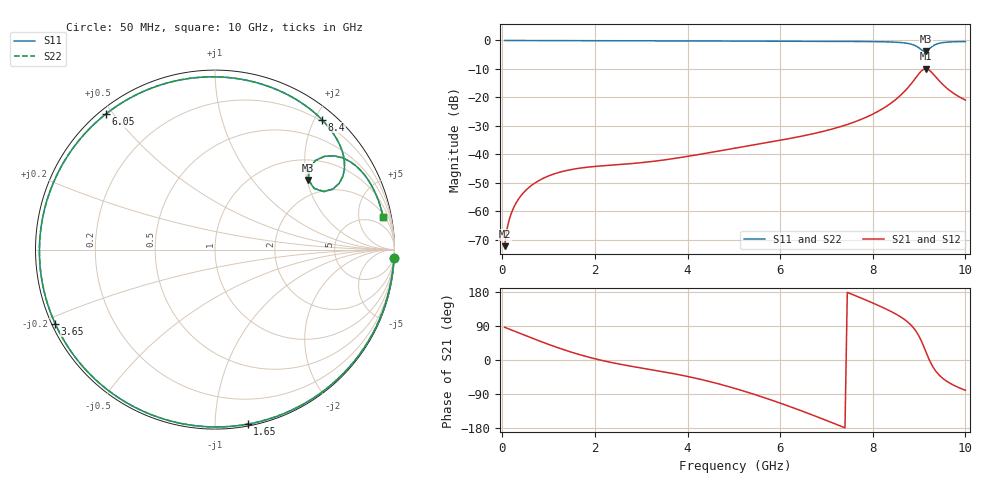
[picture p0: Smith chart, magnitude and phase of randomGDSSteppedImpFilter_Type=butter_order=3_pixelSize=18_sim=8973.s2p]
! freq	dB(S11)	phase(S11)	dB(S12)	phase(S12)
!  dB(S21)	phase(S21)	dB(S22)	phase(S22)
!S-par simulation data
#  GHz  S  DB  R 50
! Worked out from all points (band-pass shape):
!   200 points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, 50 MHz to 10 GHz, reference 50 ohm
!   highest |S21| = -9.95 dB at 9.15 GHz (marker M1); lowest = -72.2 dB at 50 MHz (marker M2)
!   |S21| within 3 dB of the highest: 8.936 GHz to 9.367 GHz (431 MHz wide, 4.71 % of centre)
!   lowest |S11| = -3.8 dB at 9.15 GHz (marker M3), VSWR 4.69, Z = 75.9 + j102 ohm
!   |S11| at or under -10 dB: nowhere
!   |S22| runs from -3.7 to 0.0 dB; largest |S21 - S12| = 0
!   S11 on the Smith chart (normalised r, x): 50 MHz: 1, -43; 1.65 GHz: 0.01, -1.20; 3.65 GHz: 0.01, -0.22; 6.05 GHz: 0.02, +0.48; 8.4 GHz: 0.18, +2.10; 10 GHz: 2.36, +9.70
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0.05  -0.01 -2.6  -72.21 86.3  -72.21 86.3  -0.01 -2.6
0.1  -0.02 -5.2  -66.33 83.8  -66.33 83.8  -0.02 -5.2
0.2  -0.03 -10.2  -60.42 79.2  -60.42 79.2  -0.03 -10.2
0.5  -0.04 -25.3  -52.74 64.6  -52.74 64.6  -0.04 -25.3
1.1  -0.07 -54.5  -46.95 36.8  -46.95 36.8  -0.07 -54.5
1.65  -0.09 -79.4  -44.89 14.8  -44.89 14.8  -0.09 -79.4
1.75  -0.10 -83.8  -44.67 11.3  -44.67 11.3  -0.10 -83.8
2.5  -0.13 -114.2  -43.60 -10.2  -43.60 -10.2  -0.13 -114.2
3.4  -0.15 -146.7  -42.16 -29.4  -42.16 -29.4  -0.15 -146.7
3.65  -0.16 -155.2  -41.59 -34.9  -41.59 -34.9  -0.16 -155.1
4.35  -0.19 -178.0  -39.74 -53.1  -39.74 -53.1  -0.19 -178.0
5.05  -0.22 160.0  -37.76 -76.0  -37.76 -76.0  -0.22 160.0
6.05  -0.27 128.7  -34.90 -115.9  -34.90 -115.9  -0.27 128.7
6.7  -0.30 108.0  -32.79 -145.3  -32.79 -145.3  -0.30 108.0
7.55  -0.35 80.2  -28.95 173.5  -28.95 173.5  -0.35 80.2
8.35  -0.53 52.4  -22.53 130.8  -22.53 130.8  -0.53 52.5
8.4  -0.56 50.6  -21.95 127.7  -21.95 127.7  -0.56 50.6
8.85  -1.41 32.0  -14.79 88.9  -14.79 88.9  -1.40 32.0
9.05  -3.27 28.1  -10.72 50.0  -10.72 50.0  -3.25 28.1
9.15  -3.76 36.8  -9.95 20.8  -9.95 20.8  -3.74 36.8
9.4  -1.16 35.8  -13.56 -35.3  -13.56 -35.3  -1.15 35.7
10  -0.41 11.1  -20.92 -79.9  -20.92 -79.9  -0.41 11.1
